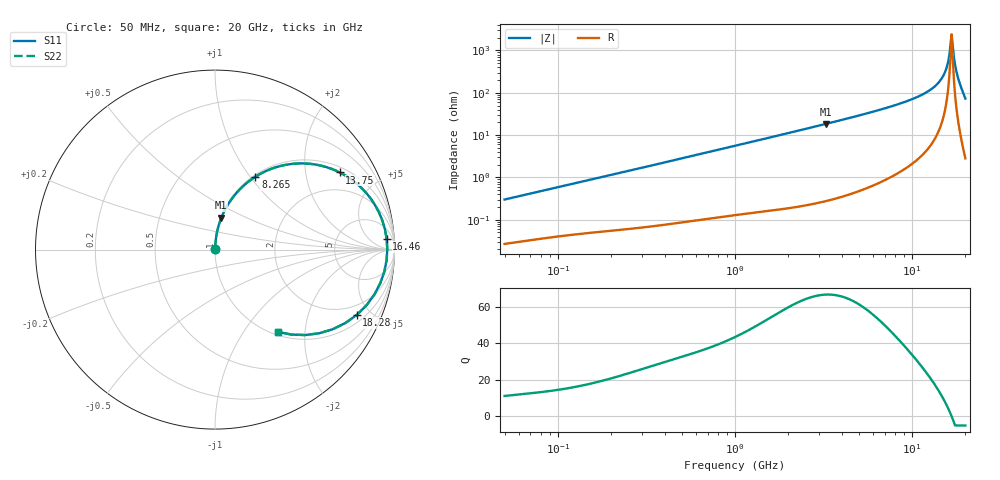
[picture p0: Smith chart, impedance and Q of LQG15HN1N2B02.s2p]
!Murata Part Number: LQG15HN1N2B02
!These Parameters are Measured in Series Mode Connection
!  o--[Z]--o
!Port1  Port2
!  o-------o
!Freq. Start=50[MHz] Stop=20[GHz], 401[Steps]
# Hz S RI R 50
!Freq.(Hz) S11(Real) S11(Imag) S21(Real) S21(Imag) S12(Real) S12(Imag) S22(Real) S22(Imag)
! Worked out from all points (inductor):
!   401 points, 50 MHz to 20 GHz, reference 50 ohm
!   read as one part in series: L = 945 pH near 51.52 MHz
!   highest Q = 66.7 at 3.265 GHz (marker M1), where L = 898 pH
!   self-resonance near 16.71 GHz
!   S11 on the Smith chart (normalised r, x): 50 MHz: 1.00, +0.01; 8.265 GHz: 1.02, +1.06; 13.75 GHz: 1.20, +3.10; 16.46 GHz: 15, +22; 18.28 GHz: 1.38, -4.12; 20 GHz: 1.06, -1.46
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5e7  0.000277 0.00299  0.9997 -0.00299  0.9997 -0.00299  0.000277 0.00299
1.364002e8  0.000529 0.00787  0.9995 -0.00787  0.9995 -0.00787  0.000529 0.00787
3.721004e8  0.00117 0.021  0.9988 -0.021  0.9988 -0.021  0.00117 0.021
1e9  0.00438 0.0555  0.9956 -0.0555  0.9956 -0.0555  0.00438 0.0555
2.728004e9  0.0251 0.1488  0.9749 -0.1488  0.9749 -0.1488  0.0251 0.1488
3.265178e9  0.0353 0.1772  0.9647 -0.1772  0.9647 -0.1772  0.0353 0.1772
7.442007e9  0.181 0.3746  0.819 -0.3746  0.819 -0.3746  0.181 0.3746
8.264682e9  0.2249 0.406  0.7751 -0.406  0.7751 -0.406  0.2249 0.406
1.098561e10  0.4148 0.4757  0.5852 -0.4757  0.5852 -0.4757  0.4148 0.4757
1.375312e10  0.6953 0.4299  0.3047 -0.4299  0.3047 -0.4299  0.6953 0.4299
1.460232e10  0.795 0.3633  0.205 -0.3633  0.205 -0.3633  0.795 0.3633
1.527346e10  0.8697 0.2814  0.1303 -0.2814  0.1303 -0.2814  0.8697 0.2814
1.573793e10  0.9138 0.2067  0.0862 -0.2067  0.0862 -0.2067  0.9138 0.2067
1.621653e10  0.9466 0.1137  0.0534 -0.1137  0.0534 -0.1137  0.9466 0.1137
1.646126e10  0.9563 0.0602  0.0437 -0.0602  0.0437 -0.0602  0.9563 0.0602
1.670968e10  0.9599 0.00252  0.0401 -0.00252  0.0401 -0.00252  0.9599 0.00252
1.696185e10  0.956 -0.0587  0.044 0.0587  0.044 0.0587  0.956 -0.0587
1.721783e10  0.9435 -0.1224  0.0565 0.1224  0.0565 0.1224  0.9435 -0.1224
1.774144e10  0.8881 -0.2502  0.1119 0.2502  0.1119 0.2502  0.8881 -0.2502
1.828096e10  0.7899 -0.3639  0.2101 0.3639  0.2101 0.3639  0.7899 -0.3639
1.912117e10  0.5797 -0.4663  0.4203 0.4663  0.4203 0.4663  0.5797 -0.4663
2e10  0.3524 -0.4588  0.6476 0.4588  0.6476 0.4588  0.3524 -0.4588
